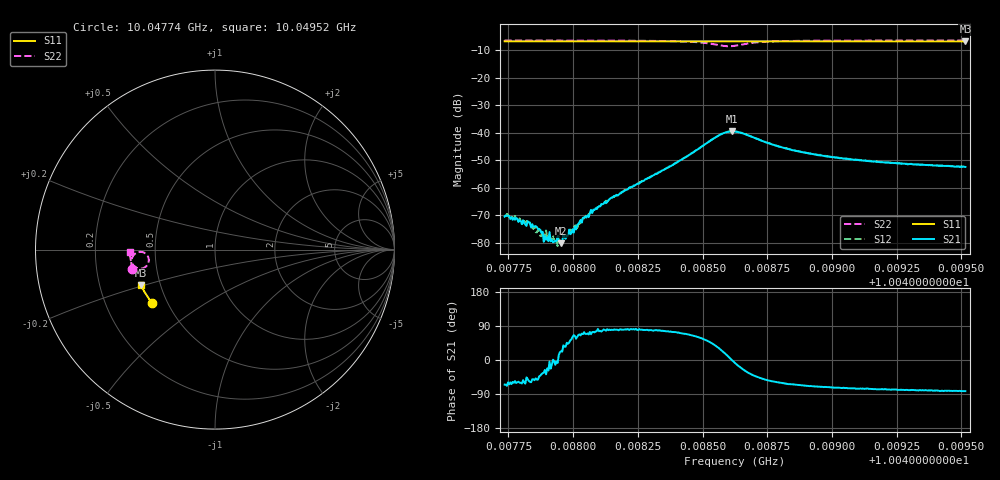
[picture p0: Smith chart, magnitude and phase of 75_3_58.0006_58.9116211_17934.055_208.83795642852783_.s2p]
#  HZ  S  RI  R  50.00
! Rohde & Schwarz Vector Network Analyzer
! Rohde-Schwarz,ZNB20-2Port,1311601062101988,3.16
! Created: UTC 3/21/2024, 12:53:40 AM
! freq[Hz]  re:S11  im:S11  re:S21  im:S21  re:S12  im:S12  re:S22  im:S22
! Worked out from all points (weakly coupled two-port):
!   401 points, 10.04774 GHz to 10.04952 GHz, reference 50 ohm
!   highest |S21| = -39.47 dB at 10.04861 GHz (marker M1); lowest = -80.2 dB at 10.04795 GHz (marker M2)
!   lowest |S11| = -6.8 dB at 10.04952 GHz (marker M3), VSWR 2.68, Z = 19.5 - j9.85 ohm
!   |S11| at or under -10 dB: nowhere
!   |S22| runs from -8.6 to -6.5 dB; largest |S21 - S12| = 0.00076
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1.0047735e10  -0.3489 -0.2995  0.000127 -0.000272  0.000127 -0.000284  -0.4629 -0.1094
1.0047829e10  -0.3529 -0.2945  0.000135 -0.000195  0.000167 -0.00017  -0.4641 -0.1022
1.0047851e10  -0.3536 -0.2933  0.000119 -0.00016  0.000159 -0.000117  -0.4643 -0.1004
1.0047873e10  -0.3547 -0.2923  0.000129 -0.000113  0.000121 -5.75e-05  -0.4646 -0.0986
1.0047896e10  -0.3555 -0.291  9.04e-05 -6.99e-05  0.000156 -6.53e-05  -0.465 -0.0968
1.00479e10  -0.3558 -0.2907  0.000118 -4.84e-05  0.000106 -5.48e-05  -0.465 -0.0964
1.0047922e10  -0.3567 -0.2896  0.000103 1.15e-06  0.000134 -2.69e-05  -0.4652 -0.0947
1.0047953e10  -0.358 -0.2879  9.05e-05 3.81e-05  9.3e-05 4.65e-05  -0.4655 -0.0921
1.0047958e10  -0.3581 -0.2878  9.72e-05 3.99e-05  9.07e-05 5.08e-05  -0.4656 -0.0917
1.0048002e10  -0.3598 -0.2854  6.39e-05 0.000141  0.000104 0.000163  -0.466 -0.0879
1.0048025e10  -0.3609 -0.2841  9.05e-05 0.00022  8.09e-05 0.000207  -0.4662 -0.0857
1.0048034e10  -0.3611 -0.2837  8.21e-05 0.000219  8.93e-05 0.000237  -0.4663 -0.0851
1.0048087e10  -0.3632 -0.2808  0.000108 0.000411  4.57e-05 0.000414  -0.4664 -0.08
1.0048149e10  -0.3657 -0.2776  0.000115 0.000659  8.22e-05 0.000649  -0.4668 -0.0738
1.0048332e10  -0.3726 -0.2674  0.000388 0.00187  0.000278 0.00191  -0.4636 -0.0505
1.0048559e10  -0.3801 -0.2543  0.0073 0.00483  0.00702 0.00528  -0.3941 -0.0176
1.0048612e10  -0.3815 -0.2517  0.0106 0.000134  0.0106 0.000831  -0.369 -0.0643
1.0048626e10  -0.3819 -0.2511  0.0104 -0.00145  0.0106 -0.000705  -0.3729 -0.0783
1.004879e10  -0.3883 -0.2424  0.00295 -0.00489  0.00326 -0.00477  -0.4518 -0.0907
1.0048924e10  -0.3928 -0.2348  0.00146 -0.00384  0.00167 -0.0038  -0.4654 -0.0695
1.0049222e10  -0.4022 -0.2172  0.000605 -0.0028  0.000762 -0.00279  -0.473 -0.0385
1.0049516e10  -0.4106 -0.1998  0.000326 -0.00238  0.00044 -0.00238  -0.4746 -0.0147
